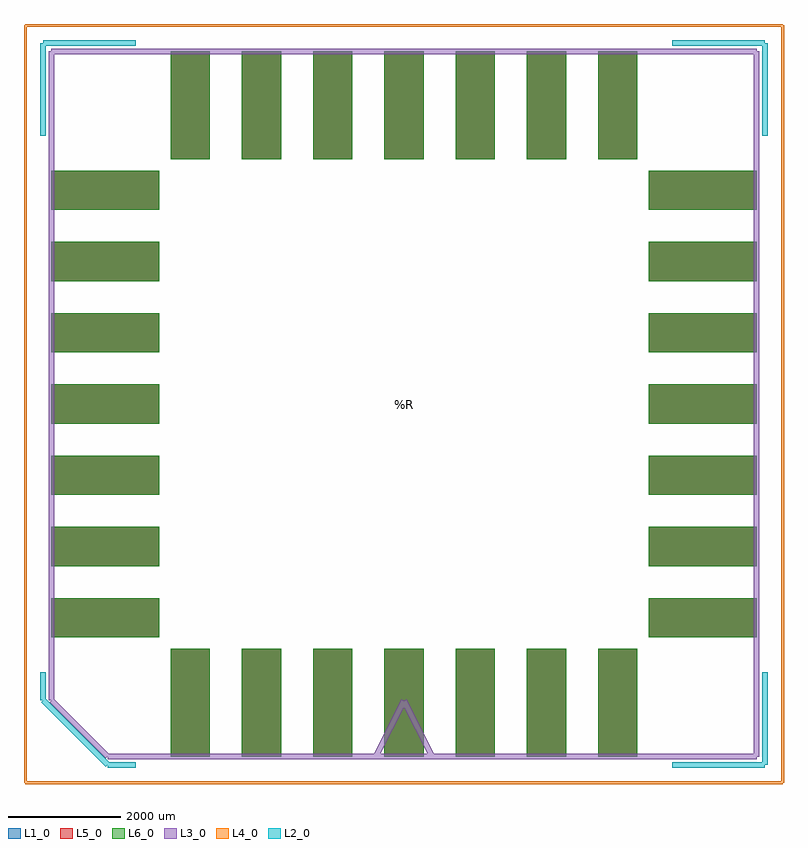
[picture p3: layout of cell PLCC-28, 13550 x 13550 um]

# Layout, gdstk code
import gdstk
lib = gdstk.Library(unit=1e-6, precision=1e-09)
def R(c, l, rs):  # rectangles x0, y0, x1, y1
    for r in rs: c.add(gdstk.rectangle(r[:2], r[2:], *l))
def A(c, l, x, y, w, h, nx, ny, dx, dy):  # array of equal rectangles
    R(c, l, [(x+i*dx, y+j*dy, x+i*dx+w, y+j*dy+h) for i in range(nx) for j in range(ny)])
L1_0 = (1, 0)
L2_0 = (2, 0)
L3_0 = (3, 0)
L4_0 = (4, 0)
L5_0 = (5, 0)
L6_0 = (6, 0)

plcc_28 = lib.new_cell('PLCC-28')
A(plcc_28, L1_0, -4160, -6285, 700, 1925, 7, 2, 1270, 10645)
A(plcc_28, L1_0, -6285, -4160, 1925, 700, 1, 7, 0, 1270)
A(plcc_28, L1_0, 4360, -4160, 1925, 700, 1, 7, 0, 1270)
A(plcc_28, L5_0, -4160, -6285, 700, 1925, 7, 2, 1270, 10645)
A(plcc_28, L5_0, -6285, -4160, 1925, 700, 1, 7, 0, 1270)
A(plcc_28, L5_0, 4360, -4160, 1925, 700, 1, 7, 0, 1270)
A(plcc_28, L6_0, -4160, -6285, 700, 1925, 7, 2, 1270, 10645)
A(plcc_28, L6_0, -6285, -4160, 1925, 700, 1, 7, 0, 1270)
A(plcc_28, L6_0, 4360, -4160, 1925, 700, 1, 7, 0, 1270)
plcc_28.add(gdstk.FlexPath([(-5285,-6285),(-6285,-5285)], 100, ends="flush", simple_path=True, layer=3, datatype=0))  # L3_0
plcc_28.add(gdstk.FlexPath([(-6285,-5285),(-6285,6285)], 100, ends="flush", simple_path=True, layer=3, datatype=0))  # L3_0
plcc_28.add(gdstk.FlexPath([(-6285,6285),(6285,6285)], 100, ends="flush", simple_path=True, layer=3, datatype=0))  # L3_0
plcc_28.add(gdstk.FlexPath([(6285,6285),(6285,-6285)], 100, ends="flush", simple_path=True, layer=3, datatype=0))  # L3_0
plcc_28.add(gdstk.FlexPath([(6285,-6285),(-5285,-6285)], 100, ends="flush", simple_path=True, layer=3, datatype=0))  # L3_0
plcc_28.add(gdstk.FlexPath([(-6750,-6750),(-6750,6750)], 50, ends="flush", simple_path=True, layer=4, datatype=0))  # L4_0
plcc_28.add(gdstk.FlexPath([(-6750,6750),(6750,6750)], 50, ends="flush", simple_path=True, layer=4, datatype=0))  # L4_0
plcc_28.add(gdstk.FlexPath([(6750,6750),(6750,-6750)], 50, ends="flush", simple_path=True, layer=4, datatype=0))  # L4_0
plcc_28.add(gdstk.FlexPath([(6750,-6750),(-6750,-6750)], 50, ends="flush", simple_path=True, layer=4, datatype=0))  # L4_0
plcc_28.add(gdstk.FlexPath([(-500,-6285),(0,-5285)], 100, ends="flush", simple_path=True, layer=3, datatype=0))  # L3_0
plcc_28.add(gdstk.FlexPath([(0,-5285),(500,-6285)], 100, ends="flush", simple_path=True, layer=3, datatype=0))  # L3_0
plcc_28.add(gdstk.FlexPath([(-4785,-6435),(-5285,-6435)], 100, ends="flush", simple_path=True, layer=2, datatype=0))  # L2_0
plcc_28.add(gdstk.FlexPath([(-5285,-6435),(-6435,-5285)], 100, ends="flush", simple_path=True, layer=2, datatype=0))  # L2_0
plcc_28.add(gdstk.FlexPath([(-6435,-5285),(-6435,-4785)], 100, ends="flush", simple_path=True, layer=2, datatype=0))  # L2_0
plcc_28.add(gdstk.FlexPath([(4785,-6435),(6435,-6435)], 100, ends="flush", simple_path=True, layer=2, datatype=0))  # L2_0
plcc_28.add(gdstk.FlexPath([(6435,-6435),(6435,-4785)], 100, ends="flush", simple_path=True, layer=2, datatype=0))  # L2_0
plcc_28.add(gdstk.FlexPath([(-4785,6435),(-6435,6435)], 100, ends="flush", simple_path=True, layer=2, datatype=0))  # L2_0
plcc_28.add(gdstk.FlexPath([(-6435,6435),(-6435,4785)], 100, ends="flush", simple_path=True, layer=2, datatype=0))  # L2_0
plcc_28.add(gdstk.FlexPath([(4785,6435),(6435,6435)], 100, ends="flush", simple_path=True, layer=2, datatype=0))  # L2_0
plcc_28.add(gdstk.FlexPath([(6435,6435),(6435,4785)], 100, ends="flush", simple_path=True, layer=2, datatype=0))  # L2_0
plcc_28.add(gdstk.Label('REF**', (0,-7285), layer=2, texttype=0))
plcc_28.add(gdstk.Label('PLCC-28', (0,7285), layer=3, texttype=0))
plcc_28.add(gdstk.Label('%R', (0,0), layer=3, texttype=0))

lib.write_gds('PLCC-28.gds')
